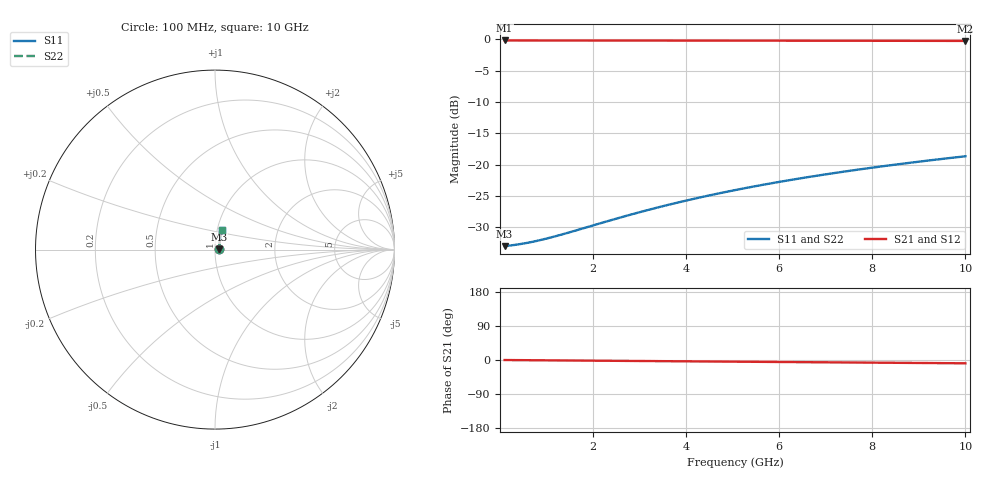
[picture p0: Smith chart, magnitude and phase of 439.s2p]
# Hz S RI R 50.00
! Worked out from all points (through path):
!   100 points, 100 MHz to 10 GHz, reference 50 ohm
!   highest |S21| = -0.20 dB at 100 MHz (marker M1); lowest = -0.3 dB at 10 GHz (marker M2)
!   group delay of S21, straight-line fit = 2.42 ps
!   lowest |S11| = -33.0 dB at 100 MHz (marker M3), VSWR 1.05, Z = 52.3 + j0.117 ohm
!   |S11| at or under -10 dB: start of sweep to end of sweep
!   |S22| runs from -33.0 to -18.7 dB; largest |S21 - S12| = 0
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1e8  0.0223 0.00112  0.9777 -0.00149  0.9777 -0.00149  0.0223 0.00112
3e8  0.0226 0.00335  0.9774 -0.00447  0.9774 -0.00447  0.0226 0.00335
5e8  0.0228 0.00558  0.9772 -0.00745  0.9772 -0.00745  0.0228 0.00558
8e8  0.023 0.00892  0.977 -0.0119  0.977 -0.0119  0.023 0.00892
1e9  0.0232 0.0112  0.9768 -0.0149  0.9768 -0.0149  0.0232 0.0112
1.2e9  0.0233 0.0134  0.9767 -0.0179  0.9767 -0.0179  0.0233 0.0134
1.8e9  0.0238 0.0201  0.9762 -0.0268  0.9762 -0.0268  0.0238 0.0201
2.3e9  0.0243 0.0256  0.9757 -0.0342  0.9757 -0.0342  0.0243 0.0256
2.7e9  0.0247 0.03  0.9752 -0.0402  0.9752 -0.0402  0.0247 0.03
3.1e9  0.0252 0.0345  0.9747 -0.0461  0.9747 -0.0461  0.0252 0.0345
3.4e9  0.0256 0.0378  0.9743 -0.0505  0.9743 -0.0505  0.0256 0.0378
3.8e9  0.0261 0.0422  0.9738 -0.0564  0.9738 -0.0564  0.0261 0.0422
4.2e9  0.0267 0.0466  0.9732 -0.0623  0.9732 -0.0623  0.0267 0.0466
4.6e9  0.0274 0.051  0.9725 -0.0682  0.9725 -0.0682  0.0274 0.051
5.1e9  0.0282 0.0565  0.9716 -0.0756  0.9716 -0.0756  0.0282 0.0565
5.5e9  0.029 0.0609  0.9708 -0.0815  0.9708 -0.0815  0.029 0.0609
5.9e9  0.0298 0.0652  0.9699 -0.0873  0.9699 -0.0873  0.0298 0.0652
6.7e9  0.0316 0.0739  0.9681 -0.099  0.9681 -0.099  0.0316 0.0739
7.5e9  0.0336 0.0825  0.966 -0.1106  0.966 -0.1106  0.0336 0.0825
8.4e9  0.0361 0.0922  0.9634 -0.1237  0.9634 -0.1237  0.0361 0.0922
9.2e9  0.0385 0.1006  0.9609 -0.1351  0.9609 -0.1351  0.0385 0.1006
1e10  0.0411 0.1091  0.9582 -0.1466  0.9582 -0.1466  0.0411 0.1091
